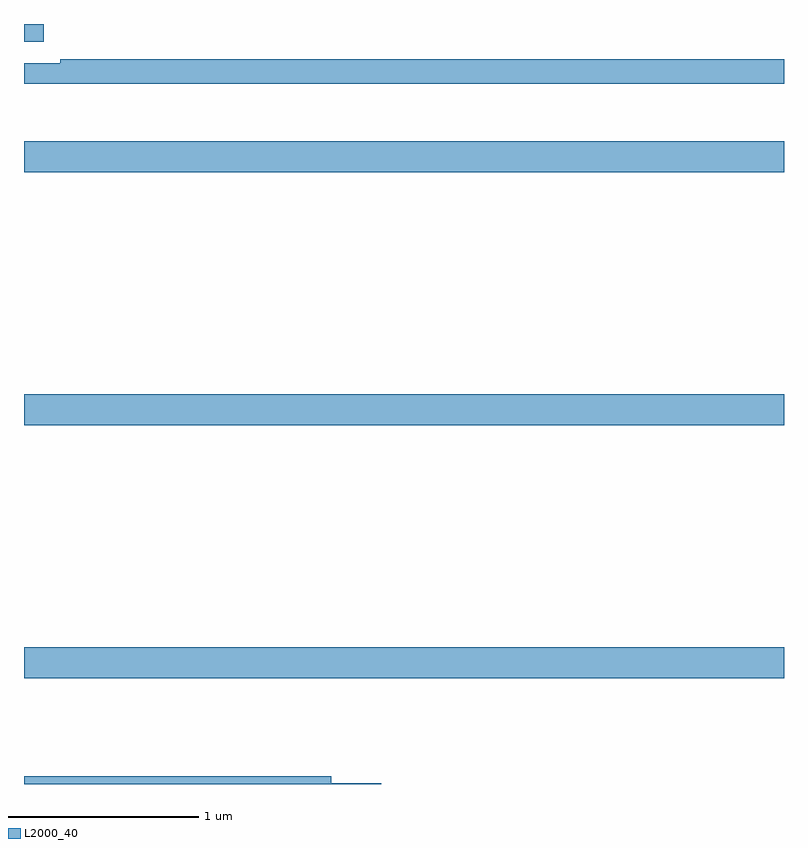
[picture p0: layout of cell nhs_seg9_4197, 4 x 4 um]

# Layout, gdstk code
import gdstk
lib = gdstk.Library(unit=1e-6, precision=1e-09)
def R(c, l, rs):  # rectangles x0, y0, x1, y1
    for r in rs: c.add(gdstk.rectangle(r[:2], r[2:], *l))
def A(c, l, x, y, w, h, nx, ny, dx, dy):  # array of equal rectangles
    R(c, l, [(x+i*dx, y+j*dy, x+i*dx+w, y+j*dy+h) for i in range(nx) for j in range(ny)])
def P(c, l, *ps):  # polygons
    for p in ps: c.add(gdstk.Polygon(p, *l))
L2000_40 = (2000, 40)

nhs_seg9_4197 = lib.new_cell('nhs_seg9_4197')
A(nhs_seg9_4197, L2000_40, 351, 1227.056, 4, 0.164, 1, 3, 0, 1.332)
R(nhs_seg9_4197, L2000_40, [(351,1230.407,351.103,1230.5)])
P(nhs_seg9_4197, L2000_40, [(355,1230.314),(351.19,1230.314),(351.19,1230.294),(351,1230.294),(351,1230.186),(355,1230.186)],
  [(352.879,1226.504),(352.618,1226.504),(352.618,1226.54),(351,1226.54),(351,1226.5),(352.879,1226.5)])

lib.write_gds('nhs_seg9_4197.gds')
